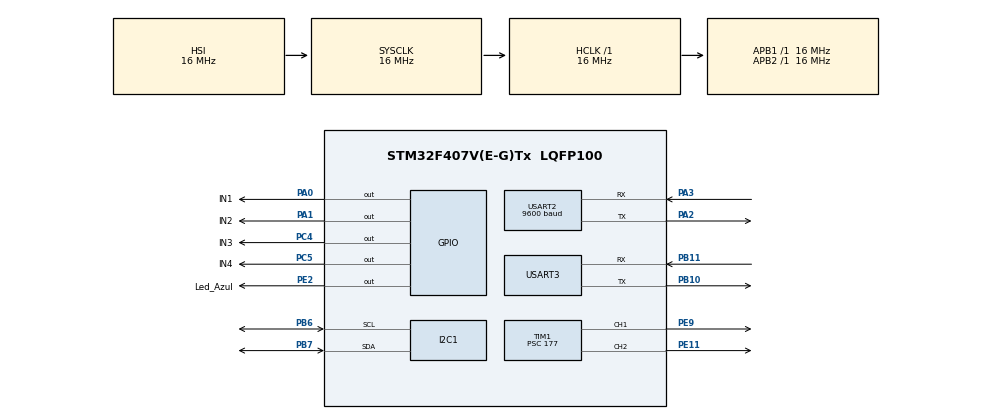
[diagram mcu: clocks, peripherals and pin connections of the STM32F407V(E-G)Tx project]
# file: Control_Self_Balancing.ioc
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I2C1.I2C_Mode=I2C_Fast
Mcu.Family=STM32F4
Mcu.Name=STM32F407V(E-G)Tx
Mcu.Package=LQFP100
NVIC.PriorityGroup=NVIC_PRIORITYGROUP_3
NVIC.TIM3_IRQn=true\:1\:1\:true\:true\:true\:2\:true
NVIC.USART2_IRQn=true\:0\:0\:true\:true\:true\:1\:true
PA0-WKUP.GPIO_Label=IN1
PA0-WKUP.GPIO_Speed=GPIO_SPEED_FREQ_VERY_HIGH
PA0-WKUP.Signal=GPIO_Output
PA1.GPIO_Label=IN2
PA1.GPIO_Speed=GPIO_SPEED_FREQ_VERY_HIGH
PA1.Signal=GPIO_Output
PA2.Mode=Asynchronous
PA2.Signal=USART2_TX
PA3.Mode=Asynchronous
PA3.Signal=USART2_RX
PB10.Mode=Asynchronous
PB10.Signal=USART3_TX
PB11.Mode=Asynchronous
PB11.Signal=USART3_RX
PB6.Mode=I2C
PB6.Signal=I2C1_SCL
PB7.Mode=I2C
PB7.Signal=I2C1_SDA
PC4.GPIO_Label=IN3
PC4.GPIO_Speed=GPIO_SPEED_FREQ_VERY_HIGH
PC4.Signal=GPIO_Output
PC5.GPIO_Label=IN4
PC5.GPIO_Speed=GPIO_SPEED_FREQ_VERY_HIGH
PC5.Signal=GPIO_Output
PE11.Signal=S_TIM1_CH2
PE2.GPIO_Label=Led_Azul
PE2.GPIO_ModeDefaultOutputPP=GPIO_MODE_OUTPUT_OD
PE2.GPIO_Speed=GPIO_SPEED_FREQ_VERY_HIGH
PE2.PinState=GPIO_PIN_SET
PE2.Signal=GPIO_Output
PE9.Signal=S_TIM1_CH1
ProjectManager.HeapSize=0x200
ProjectManager.StackSize=0x400
ProjectManager.TargetToolchain=TrueSTUDIO
RCC.AHBFreq_Value=16000000
RCC.APB1Freq_Value=16000000
RCC.APB2Freq_Value=16000000
RCC.CortexFreq_Value=16000000
RCC.HSE_VALUE=25000000
RCC.HSI_VALUE=16000000
RCC.LSE_VALUE=32768
RCC.SYSCLKFreq_VALUE=16000000
RCC.VCOOutputFreq_Value=192000000
SH.S_TIM1_CH1.0=TIM1_CH1,PWM Generation1 CH1
SH.S_TIM1_CH2.0=TIM1_CH2,PWM Generation2 CH2
TIM1.Channel-PWM\ Generation1\ CH1=TIM_CHANNEL_1
TIM1.Channel-PWM\ Generation2\ CH2=TIM_CHANNEL_2
TIM1.Period=1800
TIM1.Prescaler=177
TIM3.Period=9
TIM3.Prescaler=159
USART2.BaudRate=9600
USART2.VirtualMode=VM_ASYNC
USART3.VirtualMode=VM_ASYNC
VP_TIM1_VS_ClockSourceINT.Mode=Internal
VP_TIM3_VS_ClockSourceINT.Mode=Internal
board=Control_Self_Balancing

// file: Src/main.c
/**
  ******************************************************************************
  * File Name          : main.c
  * Description        : Main program body
  ******************************************************************************
  ** This notice applies to any and all portions of this file
  * that are not between comment pairs USER CODE BEGIN and
  * USER CODE END. Other portions of this file, whether
  * inserted by the user or by software development tools
  * are owned by their respective copyright owners.
  *
  * COPYRIGHT(c) 2018 STMicroelectronics
  *
  * Redistribution and use in source and binary forms, with or without modification,
  * are permitted provided that the following conditions are met:
  *   1. Redistributions of source code must retain the above copyright notice,
  *      this list of conditions and the following disclaimer.
  *   2. Redistributions in binary form must reproduce the above copyright notice,
  *      this list of conditions and the following disclaimer in the documentation
  *      and/or other materials provided with the distribution.
  *   3. Neither the name of STMicroelectronics nor the names of its contributors
  *      may be used to endorse or promote products derived from this software
  *      without specific prior written permission.
  *
  * THIS SOFTWARE IS PROVIDED BY THE COPYRIGHT HOLDERS AND CONTRIBUTORS "AS IS"
  * AND ANY EXPRESS OR IMPLIED WARRANTIES, INCLUDING, BUT NOT LIMITED TO, THE
  * IMPLIED WARRANTIES OF MERCHANTABILITY AND FITNESS FOR A PARTICULAR PURPOSE ARE
  * DISCLAIMED. IN NO EVENT SHALL THE COPYRIGHT HOLDER OR CONTRIBUTORS BE LIABLE
  * FOR ANY DIRECT, INDIRECT, INCIDENTAL, SPECIAL, EXEMPLARY, OR CONSEQUENTIAL
  * DAMAGES (INCLUDING, BUT NOT LIMITED TO, PROCUREMENT OF SUBSTITUTE GOODS OR
  * SERVICES; LOSS OF USE, DATA, OR PROFITS; OR BUSINESS INTERRUPTION) HOWEVER
  * CAUSED AND ON ANY THEORY OF LIABILITY, WHETHER IN CONTRACT, STRICT LIABILITY,
  * OR TORT (INCLUDING NEGLIGENCE OR OTHERWISE) ARISING IN ANY WAY OUT OF THE USE
  * OF THIS SOFTWARE, EVEN IF ADVISED OF THE POSSIBILITY OF SUCH DAMAGE.
  *
  ******************************************************************************
  */

#include "main.h"
#include "stm32f4xx_hal.h"
#include "i2c.h"
#include "tim.h"
#include "usart.h"
#include "gpio.h"

/* USER CODE BEGIN Includes */
#include"stdio.h"
#include"string.h"
#define MPU6050_AD 0xd0
/* USER CODE END Includes */

/* USER CODE BEGIN PV */
/* Private variables ---------------------------------------------------------*/
uint8_t DatoRecibido[15];
uint8_t DatoEnviado[2];
uint8_t DatoSerial[1];
/* USER CODE END PV */

void SystemClock_Config(void);
static void MX_NVIC_Init(void);

/* USER CODE BEGIN PFP */
/* Private function prototypes -----------------------------------------------*/
void configurarMPU6050();

/* USER CODE END PFP */

int main(void)
{

  /* USER CODE BEGIN 1 */
    //VARIABLES

  /* USER CODE END 1 */

  /* MCU Configuration----------------------------------------------------------*/

  /* Reset of all peripherals, Initializes the Flash interface and the Systick. */
  HAL_Init();

  /* Configure the system clock */
  SystemClock_Config();

  /* Initialize all configured peripherals */
  MX_GPIO_Init();
  MX_I2C1_Init();
  MX_TIM1_Init();
  MX_TIM3_Init();
  MX_USART3_UART_Init();
  MX_USART2_UART_Init();

  /* Initialize interrupts */
  MX_NVIC_Init();

  /* USER CODE BEGIN 2 */
  configurarMPU6050();
  HAL_TIM_PWM_Start(&htim1,TIM_CHANNEL_1);
  HAL_TIM_PWM_Start(&htim1,TIM_CHANNEL_2);
  HAL_TIM_Base_Start_IT(&htim3);
  __HAL_UART_ENABLE_IT(&huart2,UART_IT_RXNE);

  /* USER CODE END 2 */

  /* Infinite loop */
  while (1)
  {

  }

}

/** System Clock Configuration
*/
void SystemClock_Config(void)
{

  RCC_OscInitTypeDef RCC_OscInitStruct;
  RCC_ClkInitTypeDef RCC_ClkInitStruct;

    /**Configure the main internal regulator output voltage
    */
  __HAL_RCC_PWR_CLK_ENABLE();

  __HAL_PWR_VOLTAGESCALING_CONFIG(PWR_REGULATOR_VOLTAGE_SCALE1);

    /**Initializes the CPU, AHB and APB busses clocks
    */
  RCC_OscInitStruct.OscillatorType = RCC_OSCILLATORTYPE_HSI;
  RCC_OscInitStruct.HSIState = RCC_HSI_ON;
  RCC_OscInitStruct.HSICalibrationValue = 16;
  RCC_OscInitStruct.PLL.PLLState = RCC_PLL_NONE;
  if (HAL_RCC_OscConfig(&RCC_OscInitStruct) != HAL_OK)
  {
    _Error_Handler(__FILE__, __LINE__);
  }

    /**Initializes the CPU, AHB and APB busses clocks
    */
  RCC_ClkInitStruct.ClockType = RCC_CLOCKTYPE_HCLK|RCC_CLOCKTYPE_SYSCLK
                              |RCC_CLOCKTYPE_PCLK1|RCC_CLOCKTYPE_PCLK2;
  RCC_ClkInitStruct.SYSCLKSource = RCC_SYSCLKSOURCE_HSI;
  RCC_ClkInitStruct.AHBCLKDivider = RCC_SYSCLK_DIV1;
  RCC_ClkInitStruct.APB1CLKDivider = RCC_HCLK_DIV1;
  RCC_ClkInitStruct.APB2CLKDivider = RCC_HCLK_DIV1;

  if (HAL_RCC_ClockConfig(&RCC_ClkInitStruct, FLASH_LATENCY_0) != HAL_OK)
  {
    _Error_Handler(__FILE__, __LINE__);
  }

    /**Configure the Systick interrupt time
    */
  HAL_SYSTICK_Config(HAL_RCC_GetHCLKFreq()/1000);

    /**Configure the Systick
    */
  HAL_SYSTICK_CLKSourceConfig(SYSTICK_CLKSOURCE_HCLK);

  /* SysTick_IRQn interrupt configuration */
  HAL_NVIC_SetPriority(SysTick_IRQn, 0, 0);
}

/** NVIC Configuration
*/
static void MX_NVIC_Init(void)
{
  /* USART2_IRQn interrupt configuration */
  HAL_NVIC_SetPriority(USART2_IRQn, 0, 0);
  HAL_NVIC_EnableIRQ(USART2_IRQn);
  /* TIM3_IRQn interrupt configuration */
  HAL_NVIC_SetPriority(TIM3_IRQn, 1, 1);
  HAL_NVIC_EnableIRQ(TIM3_IRQn);
}

/* USER CODE BEGIN 4 */
void configurarMPU6050(){
	   DatoEnviado[0]=0x6B;
	   DatoEnviado[1]=0x00;
	   HAL_I2C_Master_Transmit(&hi2c1,(uint16_t)MPU6050_AD,DatoEnviado,2,100);
	   DatoEnviado[0]=0x19;
	   DatoEnviado[1]=0x07;
	   HAL_I2C_Master_Transmit(&hi2c1,(uint16_t)MPU6050_AD,DatoEnviado,2,100);
	   DatoEnviado[0]=0x19;
	   DatoEnviado[1]=0x07;
	   HAL_I2C_Master_Transmit(&hi2c1,(uint16_t)MPU6050_AD,DatoEnviado,2,100);
}

/* USER CODE END 4 */

void _Error_Handler(char * file, int line)
{
  while(1)
  {
  }
}

/************************ (C) COPYRIGHT STMicroelectronics *****END OF FILE****/
